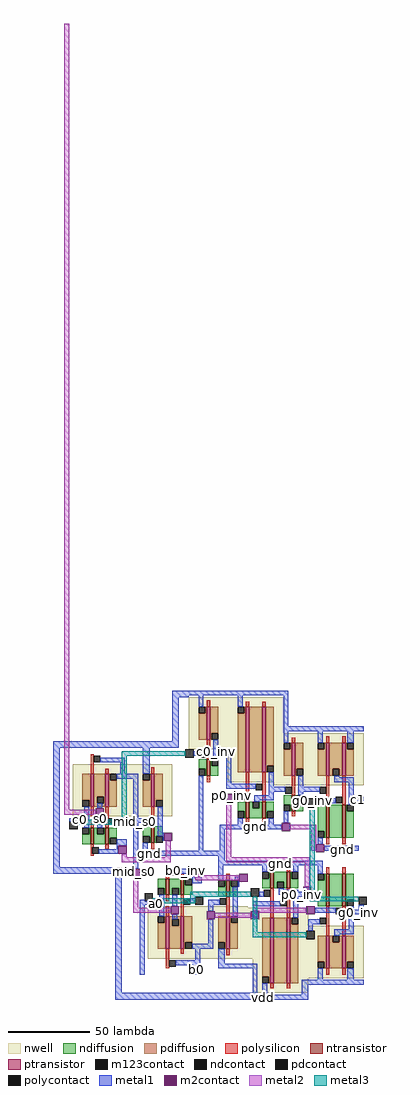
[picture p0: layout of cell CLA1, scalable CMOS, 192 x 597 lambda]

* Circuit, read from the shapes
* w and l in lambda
.subckt CLA1 a0 b0 b0_inv c0 c0_inv c1 g0_inv gnd mid_s0 p0_inv s0 temp100 vdd
M1 s0 n1 c0 VSUBS nfet w=10 l=2
M2 n1 c0 s0 VSUBS nfet w=10 l=2
M3 n1 mid_s0 gnd VSUBS nfet w=10 l=2
M4 mid_s0 b0_inv a0 VSUBS nfet w=10 l=2
M5 b0_inv a0 mid_s0 VSUBS nfet w=10 l=2
M6 c0_inv c0 gnd VSUBS nfet w=10 l=2
M7 b0_inv b0 gnd VSUBS nfet w=10 l=2
M8 n2 p0_inv gnd VSUBS nfet w=10 l=2
M9 gnd c0_inv n2 VSUBS nfet w=10 l=2
M10 p0_inv a0 gnd VSUBS nfet w=10 l=2
M11 gnd b0 p0_inv VSUBS nfet w=10 l=2
M12 temp100 n2 gnd VSUBS nfet w=10 l=2
M13 n3 a0 gnd VSUBS nfet w=20 l=2
M14 n4 temp100 gnd VSUBS nfet w=20 l=2
M15 g0_inv b0 n3 VSUBS nfet w=20 l=2
M16 c1 g0_inv n4 VSUBS nfet w=20 l=2
M17 s0 mid_s0 c0 n5 pfet w=20 l=2
M18 mid_s0 c0 s0 n5 pfet w=20 l=2
M19 n1 mid_s0 vdd n5 pfet w=20 l=2
M20 mid_s0 b0 a0 n6 pfet w=20 l=2
M21 b0 a0 mid_s0 n6 pfet w=20 l=2
M22 c0_inv c0 vdd n7 pfet w=20 l=2
M23 b0_inv b0 vdd n6 pfet w=20 l=2
M24 n8 p0_inv vdd n7 pfet w=40 l=2
M25 n2 c0_inv n8 n7 pfet w=40 l=2
M26 n9 a0 vdd n6 pfet w=40 l=2
M27 p0_inv b0 n9 n6 pfet w=40 l=2
M28 temp100 n2 vdd n7 pfet w=20 l=2
M29 g0_inv a0 vdd n6 pfet w=20 l=2
M30 c1 temp100 vdd n7 pfet w=20 l=2
M31 vdd b0 g0_inv n6 pfet w=20 l=2
M32 vdd g0_inv c1 n7 pfet w=20 l=2
.ends

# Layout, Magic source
magic
tech scmos
<< nwell >>
rect -20 -64 38 -42
rect -20 -74 87 -64
rect -91 -115 -30 -83
rect 4 -94 87 -74
rect 32 -96 87 -94
rect -45 -171 16 -170
rect -45 -182 53 -171
rect -45 -202 87 -182
rect 19 -214 87 -202
rect 19 -223 53 -214
<< ntransistor >>
rect -9 -90 -7 -80
rect 15 -116 17 -106
rect 25 -116 27 -106
rect 43 -112 45 -102
rect -80 -132 -78 -122
rect -71 -132 -69 -122
rect -43 -131 -41 -121
rect 64 -128 66 -108
rect 74 -128 76 -108
rect -34 -163 -32 -153
rect -25 -163 -23 -153
rect 3 -164 5 -154
rect 30 -159 32 -149
rect 40 -159 42 -149
rect 64 -170 66 -150
rect 74 -170 76 -150
<< ptransistor >>
rect -9 -68 -7 -48
rect -80 -109 -78 -89
rect -71 -109 -69 -89
rect -43 -109 -41 -89
rect 15 -88 17 -48
rect 25 -88 27 -48
rect 43 -90 45 -70
rect 64 -90 66 -70
rect 74 -90 76 -70
rect -34 -196 -32 -176
rect -25 -196 -23 -176
rect 3 -196 5 -176
rect 30 -217 32 -177
rect 40 -217 42 -177
rect 64 -208 66 -188
rect 74 -208 76 -188
<< ndiffusion >>
rect -14 -86 -9 -80
rect -10 -90 -9 -86
rect -7 -84 -6 -80
rect -7 -90 -2 -84
rect 10 -112 15 -106
rect 14 -116 15 -112
rect 17 -110 19 -106
rect 23 -110 25 -106
rect 17 -116 25 -110
rect 27 -112 32 -106
rect 38 -108 43 -102
rect 42 -112 43 -108
rect 45 -106 46 -102
rect 45 -112 50 -106
rect 27 -116 28 -112
rect -81 -126 -80 -122
rect -85 -132 -80 -126
rect -78 -126 -76 -122
rect -72 -126 -71 -122
rect -78 -132 -71 -126
rect -69 -128 -64 -122
rect -69 -132 -68 -128
rect -48 -127 -43 -121
rect -44 -131 -43 -127
rect -41 -127 -36 -121
rect -41 -131 -40 -127
rect 59 -124 64 -108
rect 63 -128 64 -124
rect 66 -128 74 -108
rect 76 -112 77 -108
rect 76 -128 81 -112
rect -39 -159 -34 -153
rect -35 -163 -34 -159
rect -32 -159 -25 -153
rect -32 -163 -30 -159
rect -26 -163 -25 -159
rect -23 -157 -22 -153
rect 29 -153 30 -149
rect -23 -163 -18 -157
rect 2 -158 3 -154
rect -2 -164 3 -158
rect 5 -158 6 -154
rect 5 -164 10 -158
rect 25 -159 30 -153
rect 32 -155 40 -149
rect 32 -159 34 -155
rect 38 -159 40 -155
rect 42 -153 43 -149
rect 42 -159 47 -153
rect 63 -154 64 -150
rect 59 -170 64 -154
rect 66 -170 74 -150
rect 76 -166 81 -150
rect 76 -170 77 -166
<< pdiffusion >>
rect -10 -52 -9 -48
rect -14 -68 -9 -52
rect -7 -64 -2 -48
rect -7 -68 -6 -64
rect 14 -52 15 -48
rect -85 -105 -80 -89
rect -81 -109 -80 -105
rect -78 -103 -71 -89
rect -78 -107 -76 -103
rect -72 -107 -71 -103
rect -78 -109 -71 -107
rect -69 -93 -68 -89
rect -69 -109 -64 -93
rect -44 -93 -43 -89
rect -48 -109 -43 -93
rect -41 -105 -36 -89
rect 10 -88 15 -52
rect 17 -88 25 -48
rect 27 -84 32 -48
rect 27 -88 28 -84
rect 42 -74 43 -70
rect -41 -109 -40 -105
rect 38 -90 43 -74
rect 45 -86 50 -70
rect 45 -90 46 -86
rect 63 -74 64 -70
rect 59 -90 64 -74
rect 66 -86 74 -70
rect 66 -90 68 -86
rect 72 -90 74 -86
rect 76 -74 77 -70
rect 76 -90 81 -74
rect -35 -180 -34 -176
rect -39 -196 -34 -180
rect -32 -178 -25 -176
rect -32 -182 -30 -178
rect -26 -182 -25 -178
rect -32 -196 -25 -182
rect -23 -192 -18 -176
rect -23 -196 -22 -192
rect -2 -192 3 -176
rect 2 -196 3 -192
rect 5 -180 6 -176
rect 5 -196 10 -180
rect 25 -213 30 -177
rect 29 -217 30 -213
rect 32 -217 40 -177
rect 42 -181 43 -177
rect 42 -217 47 -181
rect 59 -204 64 -188
rect 63 -208 64 -204
rect 66 -192 68 -188
rect 72 -192 74 -188
rect 66 -208 74 -192
rect 76 -204 81 -188
rect 76 -208 77 -204
<< ndcontact >>
rect -14 -90 -10 -86
rect -6 -84 -2 -80
rect 10 -116 14 -112
rect 19 -110 23 -106
rect 38 -112 42 -108
rect 46 -106 50 -102
rect 28 -116 32 -112
rect -85 -126 -81 -122
rect -76 -126 -72 -122
rect -68 -132 -64 -128
rect -48 -131 -44 -127
rect -40 -131 -36 -127
rect 59 -128 63 -124
rect 77 -112 81 -108
rect -39 -163 -35 -159
rect -30 -163 -26 -159
rect -22 -157 -18 -153
rect 25 -153 29 -149
rect -2 -158 2 -154
rect 6 -158 10 -154
rect 34 -159 38 -155
rect 43 -153 47 -149
rect 59 -154 63 -150
rect 77 -170 81 -166
<< pdcontact >>
rect -14 -52 -10 -48
rect -6 -68 -2 -64
rect 10 -52 14 -48
rect -85 -109 -81 -105
rect -76 -107 -72 -103
rect -68 -93 -64 -89
rect -48 -93 -44 -89
rect 28 -88 32 -84
rect 38 -74 42 -70
rect -40 -109 -36 -105
rect 46 -90 50 -86
rect 59 -74 63 -70
rect 68 -90 72 -86
rect 77 -74 81 -70
rect -39 -180 -35 -176
rect -30 -182 -26 -178
rect -22 -196 -18 -192
rect -2 -196 2 -192
rect 6 -180 10 -176
rect 25 -217 29 -213
rect 43 -181 47 -177
rect 59 -208 63 -204
rect 68 -192 72 -188
rect 77 -208 81 -204
<< polysilicon >>
rect -9 -48 -7 -44
rect 15 -48 17 -45
rect 25 -48 27 -45
rect -80 -89 -78 -77
rect -9 -80 -7 -68
rect -71 -89 -69 -86
rect -43 -89 -41 -85
rect 43 -70 45 -67
rect 64 -70 66 -66
rect 74 -70 76 -66
rect -9 -94 -7 -90
rect 15 -106 17 -88
rect 25 -106 27 -88
rect 43 -102 45 -90
rect -80 -115 -78 -109
rect -80 -122 -78 -118
rect -71 -122 -69 -109
rect -43 -121 -41 -109
rect 64 -108 66 -90
rect 74 -108 76 -90
rect 43 -115 45 -112
rect 15 -119 17 -116
rect 25 -119 27 -116
rect -80 -134 -78 -132
rect -80 -138 -79 -134
rect -71 -135 -69 -132
rect -43 -135 -41 -131
rect 64 -132 66 -128
rect 74 -132 76 -128
rect -80 -139 -78 -138
rect -34 -147 -32 -146
rect -34 -151 -33 -147
rect 30 -149 32 -146
rect 40 -149 42 -146
rect -34 -153 -32 -151
rect -25 -153 -23 -150
rect 3 -154 5 -150
rect -34 -167 -32 -163
rect -34 -176 -32 -170
rect -25 -176 -23 -163
rect 64 -150 66 -146
rect 74 -150 76 -146
rect 3 -176 5 -164
rect 30 -177 32 -159
rect 40 -177 42 -159
rect -34 -208 -32 -196
rect -25 -199 -23 -196
rect 3 -200 5 -196
rect 64 -188 66 -170
rect 74 -188 76 -170
rect 64 -212 66 -208
rect 74 -212 76 -208
rect 30 -220 32 -217
rect 40 -220 42 -217
<< polycontact >>
rect -78 -82 -74 -78
rect -13 -79 -9 -75
rect 11 -105 15 -101
rect 21 -99 25 -95
rect 39 -101 43 -97
rect 60 -101 64 -97
rect -69 -120 -65 -116
rect -47 -120 -43 -116
rect 70 -107 74 -103
rect -79 -138 -75 -134
rect -33 -151 -29 -147
rect 26 -164 30 -160
rect -23 -169 -19 -165
rect -1 -169 3 -165
rect 36 -170 40 -166
rect -32 -207 -28 -203
rect 60 -181 64 -177
rect 70 -175 74 -171
<< metal1 >>
rect -30 -41 41 -38
rect -30 -42 -20 -41
rect -30 -69 -26 -42
rect -14 -48 -11 -41
rect 10 -48 13 -41
rect 38 -60 41 -41
rect 38 -63 87 -60
rect -103 -73 -26 -69
rect -103 -146 -99 -73
rect -74 -82 -59 -79
rect -62 -89 -59 -82
rect -48 -89 -44 -73
rect -5 -75 -2 -68
rect 38 -70 41 -63
rect 59 -70 62 -63
rect 77 -70 81 -63
rect -17 -78 -13 -75
rect -5 -78 6 -75
rect -5 -80 -2 -78
rect -64 -92 -51 -89
rect -84 -116 -81 -109
rect -76 -110 -73 -107
rect -93 -118 -81 -116
rect -88 -119 -81 -118
rect -84 -122 -81 -119
rect -76 -122 -73 -115
rect -54 -116 -51 -92
rect -65 -120 -62 -117
rect -54 -119 -47 -116
rect -64 -133 -58 -129
rect -64 -135 -63 -133
rect -75 -138 -63 -135
rect -103 -150 -61 -146
rect -54 -147 -51 -119
rect -39 -125 -36 -109
rect -39 -127 -35 -125
rect -36 -130 -35 -127
rect -48 -136 -45 -131
rect -14 -136 -11 -90
rect 3 -95 6 -78
rect 3 -98 21 -95
rect 29 -97 32 -88
rect 47 -97 50 -90
rect 69 -91 72 -90
rect 69 -94 81 -91
rect 29 -100 39 -97
rect 8 -104 11 -101
rect 29 -102 32 -100
rect 47 -100 60 -97
rect 47 -102 50 -100
rect 20 -105 32 -102
rect 20 -106 23 -105
rect 78 -103 81 -94
rect 58 -107 70 -104
rect 78 -106 87 -103
rect 78 -108 81 -106
rect 10 -120 13 -116
rect 29 -120 32 -116
rect 38 -119 41 -112
rect -1 -123 37 -120
rect -1 -136 2 -123
rect 59 -132 62 -128
rect -48 -139 2 -136
rect 63 -136 84 -133
rect -2 -142 2 -139
rect -2 -145 62 -142
rect -65 -223 -61 -150
rect -29 -150 -17 -147
rect -18 -152 -17 -150
rect -18 -156 -12 -152
rect -2 -154 1 -145
rect 25 -149 28 -145
rect 44 -149 47 -145
rect 8 -154 11 -152
rect 10 -158 11 -154
rect 59 -150 62 -145
rect -50 -167 -47 -166
rect -38 -166 -35 -163
rect -42 -167 -35 -166
rect -50 -169 -35 -167
rect -50 -212 -47 -169
rect -38 -176 -35 -169
rect -30 -170 -27 -163
rect -19 -168 -16 -165
rect -8 -169 -1 -166
rect -8 -173 -5 -169
rect -30 -178 -27 -175
rect 7 -176 10 -158
rect 35 -160 38 -159
rect 23 -164 26 -161
rect 35 -161 47 -160
rect 35 -163 50 -161
rect 44 -164 55 -163
rect 19 -170 36 -167
rect 19 -173 22 -170
rect -8 -193 -5 -178
rect 44 -177 47 -164
rect 57 -174 70 -171
rect 78 -172 81 -170
rect 84 -172 87 -169
rect 78 -175 87 -172
rect 53 -181 60 -178
rect 53 -185 56 -181
rect 78 -184 81 -175
rect 69 -187 81 -184
rect 69 -188 72 -187
rect -18 -196 -5 -193
rect -16 -203 -13 -196
rect -28 -206 -13 -203
rect -2 -205 2 -196
rect -17 -212 -14 -206
rect -2 -208 22 -205
rect 19 -223 22 -208
rect -65 -224 22 -223
rect 59 -215 62 -208
rect 77 -215 81 -208
rect 25 -224 28 -217
rect 49 -218 87 -215
rect 49 -224 53 -218
rect -65 -227 53 -224
<< m2contact >>
rect -77 -115 -72 -110
rect -63 -138 -58 -133
rect -35 -130 -30 -125
rect 3 -106 8 -101
rect 37 -124 42 -119
rect 58 -137 63 -132
rect -55 -152 -50 -147
rect -17 -152 -12 -147
rect 11 -155 16 -150
rect -31 -175 -26 -170
rect -9 -178 -4 -173
rect 50 -163 55 -158
rect 18 -178 23 -173
rect 52 -175 57 -170
<< metal2 >>
rect -96 -111 -93 370
rect -96 -114 -77 -111
rect -61 -140 -58 -138
rect -34 -140 -31 -130
rect -61 -143 -31 -140
rect 3 -140 6 -106
rect 42 -123 58 -120
rect 55 -136 58 -123
rect 3 -143 54 -140
rect -12 -152 11 -151
rect -54 -171 -51 -152
rect -16 -154 11 -152
rect 51 -158 54 -143
rect -54 -174 -31 -171
rect 19 -171 22 -169
rect 19 -173 52 -171
rect -4 -177 18 -174
rect 23 -174 52 -173
<< m123contact >>
rect -22 -79 -17 -74
rect -93 -123 -88 -118
rect -62 -121 -57 -116
rect 53 -109 58 -104
rect -47 -167 -42 -162
rect 18 -164 23 -159
rect -16 -169 -11 -164
rect 84 -169 89 -164
rect 52 -190 57 -185
<< metal3 >>
rect -61 -78 -22 -75
rect -61 -116 -58 -78
rect -91 -118 -62 -117
rect -88 -120 -62 -118
rect -19 -164 18 -161
rect 54 -164 57 -109
rect -19 -165 -16 -164
rect -42 -167 -16 -165
rect -45 -168 -16 -167
rect 19 -186 22 -164
rect 54 -167 84 -164
rect 19 -189 52 -186
<< labels >>
rlabel metal1 -22 -148 -22 -148 1 b0_inv
rlabel metal1 81 -175 87 -172 7 g0_inv
rlabel metal1 47 -164 51 -161 1 p0_inv
rlabel metal1 -16 -210 -14 -207 1 b0
rlabel metal2 -54 -150 -52 -148 3 mid_s0
rlabel metal1 -41 -169 -39 -167 1 a0
rlabel metal1 26 -226 26 -225 1 vdd
rlabel metal1 36 -144 36 -144 5 gnd
rlabel metal1 -44 -138 -44 -138 1 gnd
rlabel metal1 -75 -117 -73 -115 1 s0
rlabel metal1 -87 -118 -85 -116 1 c0
rlabel metal1 -54 -119 -51 -117 1 mid_s0
rlabel metal1 81 -106 87 -103 7 c1
rlabel metal1 54 -106 58 -104 1 g0_inv
rlabel metal1 74 -135 74 -135 1 gnd
rlabel m2contact 4 -103 8 -102 1 p0_inv
rlabel metal1 48 -99 50 -96 1 temp100
rlabel metal1 21 -121 21 -121 1 gnd
rlabel metal1 -4 -77 -2 -74 1 c0_inv
rlabel metal1 -19 -78 -17 -76 3 c0
<< end >>
